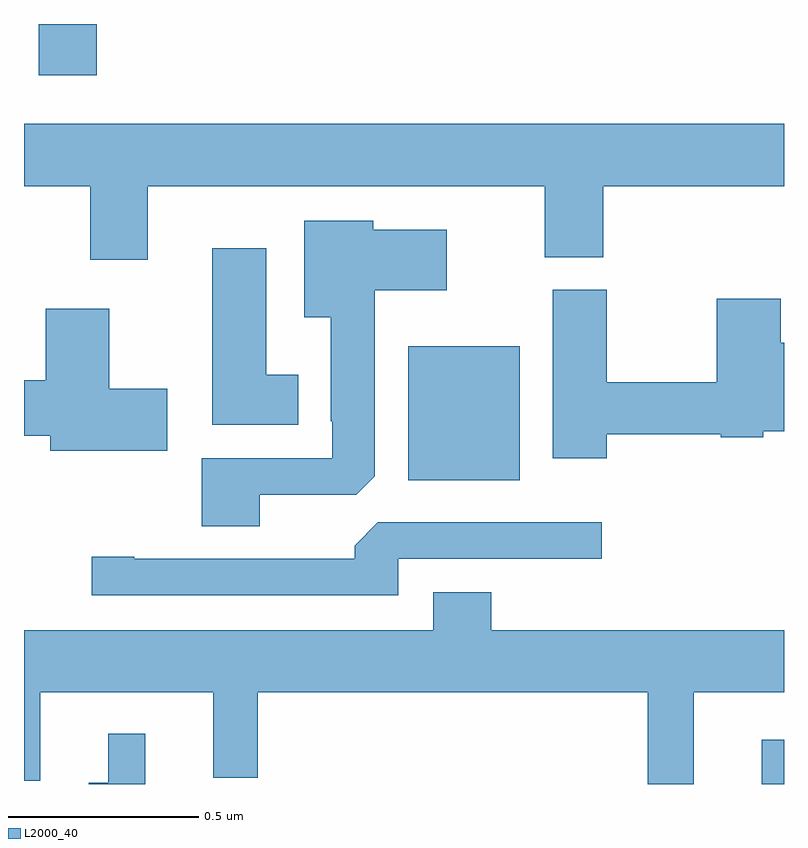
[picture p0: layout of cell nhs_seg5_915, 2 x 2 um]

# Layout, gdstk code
import gdstk
lib = gdstk.Library(unit=1e-6, precision=1e-09)
def R(c, l, rs):  # rectangles x0, y0, x1, y1
    for r in rs: c.add(gdstk.rectangle(r[:2], r[2:], *l))
def P(c, l, *ps):  # polygons
    for p in ps: c.add(gdstk.Polygon(p, *l))
L2000_40 = (2000, 40)

nhs_seg5_915 = lib.new_cell('nhs_seg5_915')
R(nhs_seg5_915, L2000_40, [(123.941,909.799,124,909.916), (123.011,910.598,123.304,910.951), (122.039,911.664,122.192,911.799)])
P(nhs_seg5_915, L2000_40, [(122.326,911.372),(123.371,911.372),(123.371,911.185),(123.524,911.185),(123.524,911.372),(124,911.372),(124,911.536),(122,911.536),(122,911.372),(122.174,911.372),(122.174,911.178),(122.326,911.178)],
  [(122.62,910.56),(122.874,910.56),(122.923,910.609),(122.923,911.099),(123.112,911.099),(123.112,911.257),(122.919,911.257),(122.919,911.281),(122.738,911.281),(122.738,911.027),(122.807,911.027),(122.807,910.753),(122.811,910.753),(122.811,910.656),(122.468,910.656),(122.468,910.477),(122.62,910.477)],
  [(122.722,910.876),(122.638,910.876),(122.638,911.209),(122.495,911.209),(122.495,910.745),(122.722,910.745)],
  [(123.534,910.72),(123.834,910.72),(123.834,910.712),(123.945,910.712),(123.945,910.727),(124,910.727),(124,910.96),(123.991,910.96),(123.991,911.076),(123.823,911.076),(123.823,910.856),(123.534,910.856),(123.534,911.1),(123.392,911.1),(123.392,910.656),(123.534,910.656)],
  [(122.377,910.839),(122.224,910.839),(122.224,911.05),(122.057,911.05),(122.057,910.862),(122,910.862),(122,910.715),(122.069,910.715),(122.069,910.676),(122.377,910.676)],
  [(122.985,910.392),(123.52,910.392),(123.52,910.488),(122.931,910.488),(122.87,910.426),(122.87,910.392),(122.29,910.392),(122.29,910.397),(122.178,910.397),(122.178,910.296),(122.985,910.296)],
  [(123.763,910.04),(124,910.04),(124,910.204),(123.23,910.204),(123.23,910.303),(123.077,910.303),(123.077,910.204),(122,910.204),(122,909.807),(122.043,909.807),(122.043,910.04),(122.498,910.04),(122.498,909.815),(122.615,909.815),(122.615,910.04),(123.642,910.04),(123.642,909.799),(123.763,909.799)],
  [(122.319,909.931),(122.222,909.931),(122.222,909.802),(122.171,909.802),(122.171,909.799),(122.319,909.799)])

lib.write_gds('nhs_seg5_915.gds')
